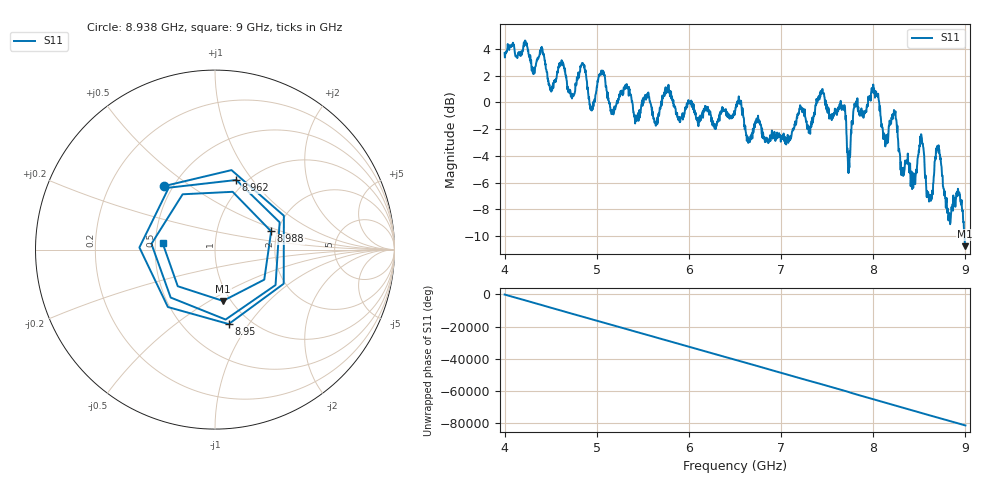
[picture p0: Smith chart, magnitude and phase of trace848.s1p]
! Created with skrf 1.8.0 (http://scikit-rf.org).
# Hz S RI R 50.0
!freq ReS11 ImS11
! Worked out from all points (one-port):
!   1601 points, 4 GHz to 9 GHz, reference 50 ohm
!   lowest |S11| = -10.8 dB at 8.994 GHz (marker M1), VSWR 1.81, Z = 46 - j28.7 ohm
!   |S11| at or under -10 dB: 8.991469 GHz to end of sweep
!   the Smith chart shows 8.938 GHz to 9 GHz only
!   S11 on the Smith chart (normalised r, x): 8.938 GHz: 0.45, +0.40; 8.95 GHz: 0.80, -0.81; 8.962 GHz: 0.90, +0.84; 8.988 GHz: 1.85, +0.42; 9 GHz: 0.55, +0.04
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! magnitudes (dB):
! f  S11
! 4 GHz  3.7
! 4.406 GHz  4.0
! 4.503 GHz  0.9
! 4.625 GHz  2.8
! 4.734 GHz  0.5
! 4.853 GHz  2.9
! 4.944 GHz  -0.6
! 5.053 GHz  2.1
! 5.25 GHz  0.6
! 5.875 GHz  -1.1
! 6.5 GHz  -0.6
! 7.125 GHz  -2.1
! 7.447 GHz  1.0
! 7.672 GHz  -0.3
! 7.75 GHz  -3.9
! 7.806 GHz  -0.3
! 8.006 GHz  1.1
! 8.375 GHz  -3.8
! 8.525 GHz  -2.6
! 8.622 GHz  -7.0
! 8.706 GHz  -3.4
! 8.819 GHz  -8.5
! 8.938 GHz  -6.9
! 8.95 GHz  -7.5
! 8.962 GHz  -7.8
! 8.988 GHz  -9.7
! 8.994 GHz  -10.8
! 9 GHz  -10.6
